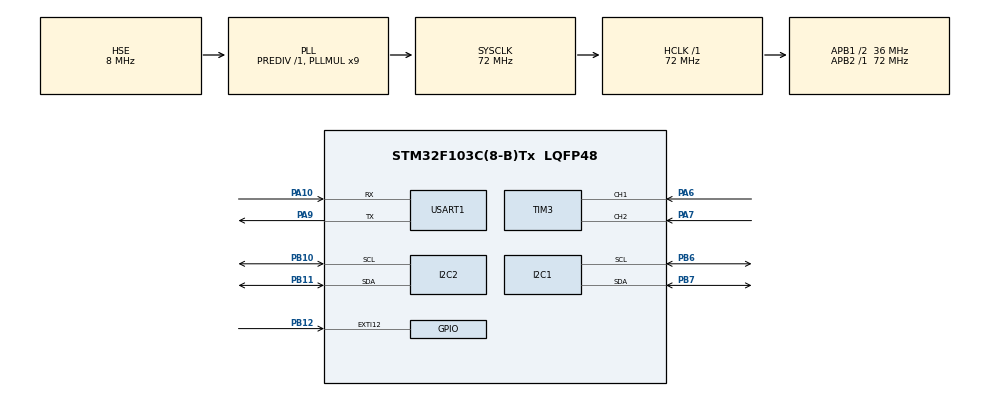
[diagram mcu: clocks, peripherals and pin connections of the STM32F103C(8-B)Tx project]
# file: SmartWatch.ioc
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FREERTOS.Mutexes01=mutexI2C,Dynamic,NULL,Available
FREERTOS.Queues01=queueTimeUpdate,16,8,1,Dynamic,NULL,NULL;queueMenuMsg,16,4,1,Dynamic,NULL,NULL;queueBtCmd,16,32,1,Dynamic,NULL,NULL;queueSensorData,4,64,1,Dynamic,NULL,NULL
FREERTOS.Tasks01=defaultTask,0,128,StartDefaultTask,Default,NULL,Dynamic,NULL,NULL;taskTimeKeep,2,256,osPriorityHigh,Default,NULL,Dynamic,NULL,NULL;taskSensor,1,512,vTask_Sensor,Default,NULL,Dynamic,NULL,NULL;taskDisplay,0,1024,vTask_Display,Default,NULL,Dynamic,NULL,NULL;taskMenu,0,512,vTask_Menu,Default,NULL,Dynamic,NULL,NULL;taskBluetooth,-1,512,vTask_Bluetooth,Default,NULL,Dynamic,NULL,NULL
FREERTOS.configMAX_PRIORITIES=32
FREERTOS.configTOTAL_HEAP_SIZE=16384
I2C1.I2C_Mode=I2C_Standard
I2C2.I2C_Mode=I2C_Standard
Mcu.Family=STM32F1
Mcu.Name=STM32F103C(8-B)Tx
Mcu.Package=LQFP48
NVIC.EXTI15_10_IRQn=true\:7\:0\:true\:false\:true\:false\:true\:true\:true
NVIC.PriorityGroup=NVIC_PRIORITYGROUP_4
NVIC.TIM1_UP_IRQn=true\:15\:0\:false\:false\:true\:false\:false\:true\:true
NVIC.TIM2_IRQn=true\:5\:0\:false\:false\:true\:true\:true\:true\:true
NVIC.TimeBase=TIM1_UP_IRQn
NVIC.TimeBaseIP=TIM1
NVIC.USART1_IRQn=true\:7\:0\:true\:false\:true\:true\:true\:true\:true
PA10.Mode=Asynchronous
PA10.Signal=USART1_RX
PA13.Mode=Serial_Wire
PA13.Signal=SYS_JTMS-SWDIO
PA14.Mode=Serial_Wire
PA14.Signal=SYS_JTCK-SWCLK
PA6.Signal=S_TIM3_CH1
PA7.Signal=S_TIM3_CH2
PA9.Mode=Asynchronous
PA9.Signal=USART1_TX
PB10.Mode=I2C
PB10.Signal=I2C2_SCL
PB11.Mode=I2C
PB11.Signal=I2C2_SDA
PB12.GPIO_ModeDefaultEXTI=GPIO_MODE_IT_FALLING
PB12.GPIO_PuPd=GPIO_PULLUP
PB12.Signal=GPXTI12
PB6.Mode=I2C
PB6.Signal=I2C1_SCL
PB7.Mode=I2C
PB7.Signal=I2C1_SDA
PD0-OSC_IN.Mode=HSE-External-Oscillator
PD0-OSC_IN.Signal=RCC_OSC_IN
PD1-OSC_OUT.Mode=HSE-External-Oscillator
PD1-OSC_OUT.Signal=RCC_OSC_OUT
ProjectManager.HeapSize=0x200
ProjectManager.StackSize=0x400
ProjectManager.TargetToolchain=STM32CubeIDE
RCC.AHBFreq_Value=72000000
RCC.APB1CLKDivider=RCC_HCLK_DIV2
RCC.APB1Freq_Value=36000000
RCC.APB1TimFreq_Value=72000000
RCC.APB2Freq_Value=72000000
RCC.APB2TimFreq_Value=72000000
RCC.HCLKFreq_Value=72000000
RCC.PLLMUL=RCC_PLL_MUL9
RCC.PLLSourceVirtual=RCC_PLLSOURCE_HSE
RCC.SYSCLKFreq_VALUE=72000000
RCC.SYSCLKSource=RCC_SYSCLKSOURCE_PLLCLK
RCC.USBFreq_Value=72000000
SH.S_TIM3_CH1.0=TIM3_CH1,Encoder_Interface
SH.S_TIM3_CH2.0=TIM3_CH2,Encoder_Interface
TIM2.Period=9999
TIM2.Prescaler=7199
USART1.VirtualMode=VM_ASYNC
VP_FREERTOS_VS_CMSIS_V1.Mode=CMSIS_V1
VP_SYS_VS_tim1.Mode=TIM1
VP_TIM2_VS_ClockSourceINT.Mode=Internal
board=custom

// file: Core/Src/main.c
/* USER CODE BEGIN Header */
/**
  ******************************************************************************
  * @file           : main.c
  * @brief          : Phase 5 - FreeRTOS + Multi-level Menu + Power Management
  ******************************************************************************
  */
/* USER CODE END Header */
#include "main.h"
#include "cmsis_os.h"
#include "i2c.h"
#include "tim.h"
#include "usart.h"
#include "gpio.h"

/* USER CODE BEGIN Includes */
#include "ssd1306.h"
#include "mpu6050.h"
#include "bluetooth.h"
#include <stdio.h>
#include <stdlib.h>
#include <string.h>
#include <math.h>
/* USER CODE END Includes */

/* USER CODE BEGIN PTD */
/* 所有结构体定义已移至 main.h，此处留空 */
/* USER CODE END PTD */

/* USER CODE BEGIN PD */
#define MENU_TIMEOUT_MS     10000   // 10秒无操作熄屏
/* USER CODE END PD */

/* USER CODE BEGIN PV */

// 外部 FreeRTOS 句柄
extern osMessageQId queueSensorDataHandle;
extern osMessageQId queueSensorDataBtHandle;
extern osMessageQId queueTimeUpdateHandle;
extern osMessageQId queueMenuMsgHandle;
extern osMutexId mutexI2CHandle;
extern osSemaphoreId semDisplayUpdateHandle;

// ============================================================
// 叶子节点动作函数声明
// ============================================================
static void MenuAction_ShowTime(void);
static void MenuAction_ShowSensor(void);
static void MenuAction_ShowSport(void);
static void MenuAction_ShowSystem(void);
static void MenuAction_SetTime(void);
static void MenuAction_ResetSteps(void);
static void MenuAction_About(void);

// 前向声明子菜单
static const MenuItem_t menuTime[];
static const MenuItem_t menuSensor[];
static const MenuItem_t menuSport[];
static const MenuItem_t menuSettings[];
static const MenuItem_t menuSystem[];

// ============================================================
// 定义菜单树（每个数组必须有 NULL 终止符）
// ============================================================

static const MenuItem_t menuMain[] = {
    {"Time",       3, menuTime,   NULL},
    {"Sensor",     3, menuSensor, NULL},
    {"Sport",      3, menuSport,  NULL},
    {"Settings",   4, menuSettings, NULL},
    {"System",     3, menuSystem, NULL},
    {NULL,         0, NULL,       NULL}
};

static const MenuItem_t menuTime[] = {
    {"Current Time", 0, NULL, MenuAction_ShowTime},
    {"Date",         0, NULL, NULL},
    {"Step Count",   0, NULL, NULL},
    {NULL,           0, NULL, NULL}
};

static const MenuItem_t menuSensor[] = {
    {"Attitude",    0, NULL, MenuAction_ShowSensor},
    {"Accel",       0, NULL, NULL},
    {"Temperature", 0, NULL, NULL},
    {NULL,          0, NULL, NULL}
};

static const MenuItem_t menuSport[] = {
    {"Today Steps", 0, NULL, MenuAction_ShowSport},
    {"Distance",    0, NULL, NULL},
    {"Calorie",     0, NULL, NULL},
    {NULL,          0, NULL, NULL}
};

static const MenuItem_t menuSettings[] = {
    {"Set Time",    0, NULL, MenuAction_SetTime},
    {"BT Pair",     0, NULL, NULL},
    {"Reset Steps", 0, NULL, MenuAction_ResetSteps},
    {"About",       0, NULL, MenuAction_About},
    {NULL,          0, NULL, NULL}
};

static const MenuItem_t menuSystem[] = {
    {"Battery",     0, NULL, MenuAction_ShowSystem},
    {"Firmware",    0, NULL, NULL},
    {"BT MAC",      0, NULL, NULL},
    {NULL,          0, NULL, NULL}
};

// ============================================================
// 定义全局状态
// ============================================================
Page_t currentPage = PAGE_TIME;

MenuState_t menuState = {
    .current_menu = NULL,
    .current_item = 0,
    .depth = 0,
    .prev_item = 0,
    .edit_mode = 0,
    .edit_value = 0
};

static uint8_t screen_off = 0;
static uint32_t last_activity_time = 0;
static uint8_t force_refresh_now = 0;

/* USER CODE END PV */

void SystemClock_Config(void);
void MX_FREERTOS_Init(void);
/* USER CODE BEGIN PFP */

void RenderPage(TimeData_t *time, SensorData_t *sensor);
void ProcessMenu(MenuMsg_t *msg);
void RenderMenu(void);
void ProcessMenuEvent(MenuEvent_t event);

void vTask_TimeKeep(void const *argument);
void vTask_Sensor(void const *argument);
void vTask_Display(void const *argument);
void vTask_Menu(void const *argument);
void vTask_Bluetooth(void const *argument);

static char* FloatToStrInt(float val) {
    static char buf[16];
    int int_part = (int)val;
    int dec_part = (int)((val - int_part) * 10);
    if (dec_part < 0) dec_part = -dec_part;
    if (val < 0 && int_part == 0) {
        sprintf(buf, "-0.%d", dec_part);
    } else {
        sprintf(buf, "%d.%d", int_part, dec_part);
    }
    return buf;
}

/* USER CODE END PFP */

/* USER CODE BEGIN 0 */

// ============================================================
// 叶子节点动作函数
// ============================================================
static void MenuAction_ShowTime(void) {
    currentPage = PAGE_TIME;
    menuState.current_menu = NULL;
    force_refresh_now = 1;
}

static void MenuAction_ShowSensor(void) {
    currentPage = PAGE_SENSOR;
    menuState.current_menu = NULL;
    force_refresh_now = 1;
}

static void MenuAction_ShowSport(void) {
    currentPage = PAGE_SPORT;
    menuState.current_menu = NULL;
    force_refresh_now = 1;
}

static void MenuAction_ShowSystem(void) {
    currentPage = PAGE_SYSTEM;
    menuState.current_menu = NULL;
    force_refresh_now = 1;
}

static void MenuAction_SetTime(void) {
    menuState.edit_mode = 1;
    menuState.current_menu = NULL;
    force_refresh_now = 1;
}

static void MenuAction_ResetSteps(void) {
    SensorData_t reset_sensor = {0};
    reset_sensor.steps = 0;
    xQueueSend(queueSensorDataHandle, &reset_sensor, 0);
    menuState.current_menu = NULL;
    currentPage = PAGE_TIME;
    force_refresh_now = 1;
}

static void MenuAction_About(void) {
    menuState.current_menu = NULL;
    currentPage = PAGE_TIME;
    force_refresh_now = 1;
}

// ============================================================
// 多级菜单渲染
// ============================================================
void RenderMenu(void) {
    uint8_t i, count;
    const MenuItem_t *menu = menuState.current_menu;

    if (menu == NULL) {
        return;
    }

    count = 0;
    while (menu[count].name != NULL && count < 10) {
        count++;
    }

    if (count == 0) {
        return;
    }

    SSD1306_Clear();

    // 标题
    SSD1306_SetCursor(0, 0);
    if (menuState.depth == 0) {
        SSD1306_WriteString("Main Menu");
    } else {
        for (i = 0; i < menuState.depth; i++) {
            SSD1306_WriteString("  ");
        }
        SSD1306_WriteString("Menu");
    }
    SSD1306_SetCursor(0, 8);
    SSD1306_WriteString("----------------");

    // 菜单项
    for (i = 0; i < count; i++) {
        SSD1306_SetCursor(2, 16 + i * 8);
        if (i == menuState.current_item) {
            SSD1306_WriteString(">");
        } else {
            SSD1306_WriteString(" ");
        }
        SSD1306_WriteString((char*)menu[i].name);
        if (menu[i].sub_items > 0) {
            SSD1306_WriteString(" →");
        }
    }

    // 底部提示
    SSD1306_SetCursor(0, 56);
    SSD1306_WriteString("OK:Enter L:Back");
}

// ============================================================
// 菜单事件处理
// ============================================================
void ProcessMenuEvent(MenuEvent_t event) {
    const MenuItem_t *menu = menuState.current_menu;
    uint8_t count = 0;

    if (menu == NULL) {
        return;
    }

    while (menu[count].name != NULL && count < 10) count++;

    switch (event) {
        case MENU_EVENT_NEXT:
            menuState.current_item = (menuState.current_item + 1) % count;
            force_refresh_now = 1;
            break;
        case MENU_EVENT_PREV:
            menuState.current_item = (menuState.current_item + count - 1) % count;
            force_refresh_now = 1;
            break;
        case MENU_EVENT_ENTER: {
            const MenuItem_t *item = &menu[menuState.current_item];
            if (item->sub_items > 0 && item->sub_menu != NULL) {
                menuState.current_menu = item->sub_menu;
                menuState.prev_item = menuState.current_item;
                menuState.depth++;
                menuState.current_item = 0;
                force_refresh_now = 1;
            } else if (item->action != NULL) {
                item->action();
                force_refresh_now = 1;
            }
            break;
        }
        case MENU_EVENT_BACK:
            if (menuState.depth > 0) {
                if (menuState.depth == 1) {
                    menuState.current_menu = menuMain;
                } else {
                    menuState.current_menu = menuMain;
                }
                menuState.depth--;
                menuState.current_item = menuState.prev_item;
                force_refresh_now = 1;
            } else {
                menuState.current_menu = NULL;
                menuState.depth = 0;
                menuState.current_item = 0;
                currentPage = PAGE_TIME;
                force_refresh_now = 1;
            }
            break;
        default:
            break;
    }
}

// ============================================================
// 菜单消息处理
// ============================================================
void ProcessMenu(MenuMsg_t *msg) {
    MenuEvent_t event = MENU_EVENT_NONE;

    last_activity_time = HAL_GetTick();

    if (msg->encoder_delta > 0) {
        event = MENU_EVENT_NEXT;
    } else if (msg->encoder_delta < 0) {
        event = MENU_EVENT_PREV;
    } else if (msg->button_event == 1) {
        event = MENU_EVENT_ENTER;
    } else if (msg->button_event == 2) {
        event = MENU_EVENT_BACK;
    }

    if (event != MENU_EVENT_NONE) {
        if (menuState.current_menu != NULL) {
            ProcessMenuEvent(event);
        } else {
            if (event == MENU_EVENT_ENTER) {
                menuState.current_menu = menuMain;
                menuState.current_item = currentPage;
                menuState.depth = 0;
                menuState.edit_mode = 0;
                force_refresh_now = 1;
            } else if (event == MENU_EVENT_NEXT) {
                currentPage = (currentPage + 1) % PAGE_COUNT;
                force_refresh_now = 1;
            } else if (event == MENU_EVENT_PREV) {
                currentPage = (currentPage + PAGE_COUNT - 1) % PAGE_COUNT;
                force_refresh_now = 1;
            }
        }
    }
}

// ============================================================
// 页面渲染
// ============================================================
void RenderPage(TimeData_t *time, SensorData_t *sensor) {
    char buf[24];

    if (menuState.current_menu != NULL) {
        RenderMenu();
        return;
    }

    SSD1306_Clear();

    switch (currentPage) {
        case PAGE_TIME:
            SSD1306_SetCursor(0, 0); SSD1306_WriteString("SmartWatch");
            SSD1306_SetCursor(0, 2);
            sprintf(buf, "Time:%02d:%02d:%02d", time->hour, time->min, time->sec);
            SSD1306_WriteString(buf);
            SSD1306_SetCursor(0, 4);
            sprintf(buf, "Steps:%lu", sensor->steps);
            SSD1306_WriteString(buf);
            SSD1306_SetCursor(0, 6);
            sprintf(buf, "BT:%s", Bluetooth_IsConnected() ? "OK" : "NO");
            SSD1306_WriteString(buf);
            break;

        case PAGE_SENSOR:
            SSD1306_SetCursor(0, 0); SSD1306_WriteString("--- Sensor ---");
            SSD1306_SetCursor(0, 2);
            sprintf(buf, "AX:%s", FloatToStrInt(sensor->accel_x));
            SSD1306_WriteString(buf);
            SSD1306_SetCursor(0, 3);
            sprintf(buf, "AY:%s", FloatToStrInt(sensor->accel_y));
            SSD1306_WriteString(buf);
            SSD1306_SetCursor(0, 4);
            sprintf(buf, "AZ:%s", FloatToStrInt(sensor->accel_z));
            SSD1306_WriteString(buf);
            SSD1306_SetCursor(0, 6);
            sprintf(buf, "Steps:%lu", sensor->steps);
            SSD1306_WriteString(buf);
            break;

        case PAGE_SPORT:
            SSD1306_SetCursor(0, 0); SSD1306_WriteString("--- Sport ---");
            SSD1306_SetCursor(0, 2);
            sprintf(buf, "Steps:%lu", sensor->steps);
            SSD1306_WriteString(buf);
            SSD1306_SetCursor(0, 4);
            uint32_t dist_m = sensor->steps * 8 / 10;
            sprintf(buf, "Dist:%lu.%1lum", dist_m / 10, dist_m % 10);
            SSD1306_WriteString(buf);
            break;

        case PAGE_SYSTEM:
            SSD1306_SetCursor(0, 0); SSD1306_WriteString("--- System ---");
            SSD1306_SetCursor(0, 2);
            sprintf(buf, "Temp:%sC", FloatToStrInt(sensor->temp));
            SSD1306_WriteString(buf);
            SSD1306_SetCursor(0, 4); SSD1306_WriteString("I2C:OK");
            SSD1306_SetCursor(0, 6); SSD1306_WriteString("UART:OK");
            break;

        default:
            break;
    }
}

/* USER CODE END 0 */

// ============================================================
// 主函数
// ============================================================
int main(void)
{
  HAL_Init();
  SystemClock_Config();

  MX_GPIO_Init();
  MX_I2C1_Init();
  MX_USART1_UART_Init();
  MX_TIM2_Init();
  MX_TIM3_Init();
  MX_I2C2_Init();

  /* USER CODE BEGIN 2 */
  char start_msg[] = "\r\n=== SmartWatch Phase 5 ===\r\n";
  HAL_UART_Transmit(&huart1, (uint8_t*)start_msg, strlen(start_msg), 100);

  SSD1306_Init();
  SSD1306_Clear();
  SSD1306_SetCursor(0, 0);
  SSD1306_WriteString("Phase5 Starting");

  if (MPU6050_Init() == 1) {
      SSD1306_SetCursor(0, 2);
      SSD1306_WriteString("MPU6050 OK");
      HAL_UART_Transmit(&huart1, (uint8_t*)"MPU6050 Init OK\r\n", 18, 100);
  } else {
      SSD1306_SetCursor(0, 2);
      SSD1306_WriteString("MPU6050 FAIL");
      HAL_UART_Transmit(&huart1, (uint8_t*)"MPU6050 Init FAIL\r\n", 20, 100);
      while(1);
  }

  Bluetooth_Init();
  SSD1306_SetCursor(0, 4);
  SSD1306_WriteString("Bluetooth OK");
  HAL_UART_Transmit(&huart1, (uint8_t*)"Bluetooth Init OK\r\n", 20, 100);

  HAL_Delay(1000);
  SSD1306_Clear();

  HAL_TIM_Base_Start_IT(&htim2);
  HAL_TIM_Encoder_Start(&htim3, TIM_CHANNEL_ALL);

  last_activity_time = HAL_GetTick();

  /* USER CODE END 2 */

  MX_FREERTOS_Init();
  osKernelStart();

  while (1) {}
}

// ============================================================
// System Clock Configuration
// ============================================================
void SystemClock_Config(void)
{
  RCC_OscInitTypeDef RCC_OscInitStruct = {0};
  RCC_ClkInitTypeDef RCC_ClkInitStruct = {0};

  RCC_OscInitStruct.OscillatorType = RCC_OSCILLATORTYPE_HSE;
  RCC_OscInitStruct.HSEState = RCC_HSE_ON;
  RCC_OscInitStruct.HSEPredivValue = RCC_HSE_PREDIV_DIV1;
  RCC_OscInitStruct.HSIState = RCC_HSI_ON;
  RCC_OscInitStruct.PLL.PLLState = RCC_PLL_ON;
  RCC_OscInitStruct.PLL.PLLSource = RCC_PLLSOURCE_HSE;
  RCC_OscInitStruct.PLL.PLLMUL = RCC_PLL_MUL9;
  if (HAL_RCC_OscConfig(&RCC_OscInitStruct) != HAL_OK) Error_Handler();

  RCC_ClkInitStruct.ClockType = RCC_CLOCKTYPE_HCLK|RCC_CLOCKTYPE_SYSCLK
                              |RCC_CLOCKTYPE_PCLK1|RCC_CLOCKTYPE_PCLK2;
  RCC_ClkInitStruct.SYSCLKSource = RCC_SYSCLKSOURCE_PLLCLK;
  RCC_ClkInitStruct.AHBCLKDivider = RCC_SYSCLK_DIV1;
  RCC_ClkInitStruct.APB1CLKDivider = RCC_HCLK_DIV2;
  RCC_ClkInitStruct.APB2CLKDivider = RCC_HCLK_DIV1;
  if (HAL_RCC_ClockConfig(&RCC_ClkInitStruct, FLASH_LATENCY_2) != HAL_OK) Error_Handler();
}

/* USER CODE BEGIN 4 */

void vTask_TimeKeep(void const *argument) {
    TimeData_t time = {0, 0, 0};
    TickType_t xLastWakeTime = xTaskGetTickCount();

    for (;;) {
        time.sec++;
        if (time.sec >= 60) { time.sec = 0; time.min++; }
        if (time.min >= 60) { time.min = 0; time.hour++; }
        if (time.hour >= 24) time.hour = 0;

        if (xQueueSend(queueTimeUpdateHandle, &time, 0) != pdPASS) {
            HAL_UART_Transmit(&huart1, (uint8_t*)"TIME SEND FAIL\r\n", 17, 100);
        }

        xSemaphoreGive(semDisplayUpdateHandle);
        vTaskDelayUntil(&xLastWakeTime, pdMS_TO_TICKS(1000));
    }
}

void vTask_Sensor(void const *argument) {
    SensorData_t sensor = {0};
    TickType_t xLastWakeTime = xTaskGetTickCount();
    MPU6050_Data raw;
    char dbg[64];
    uint8_t read_ok = 0;

    for (;;) {
        read_ok = 0;
        osStatus mutex_status = osMutexWait(mutexI2CHandle, osWaitForever);
        if (mutex_status == osOK) {
            MPU6050_ReadAll(&raw);
            sensor.steps = MPU6050_GetSteps();
            osMutexRelease(mutexI2CHandle);
            read_ok = 1;
        }

        if (read_ok) {
            sensor.accel_x = raw.accel_x;
            sensor.accel_y = raw.accel_y;
            sensor.accel_z = raw.accel_z;
            sensor.pitch = raw.pitch;
            sensor.roll = raw.roll;
            sensor.temp = raw.temp;

            static uint8_t print_cnt = 0;
            print_cnt++;
            if (print_cnt % 5 == 0) {
                int ax_int = (int)(sensor.accel_x * 10);
                int ay_int = (int)(sensor.accel_y * 10);
                int az_int = (int)(sensor.accel_z * 10);
                sprintf(dbg, "SENS: AX=%d.%d AY=%d.%d AZ=%d.%d STEPS=%lu\r\n",
                        ax_int/10, abs(ax_int%10),
                        ay_int/10, abs(ay_int%10),
                        az_int/10, abs(az_int%10),
                        sensor.steps);
                HAL_UART_Transmit(&huart1, (uint8_t*)dbg, strlen(dbg), 100);
            }
        } else {
            HAL_UART_Transmit(&huart1, (uint8_t*)"MUTEX FAIL\r\n", 12, 100);
        }

        xQueueSend(queueSensorDataHandle, &sensor, 0);
        xQueueSend(queueSensorDataBtHandle, &sensor, 0);
        xSemaphoreGive(semDisplayUpdateHandle);
        vTaskDelayUntil(&xLastWakeTime, pdMS_TO_TICKS(50));
    }
}

// ============================================================
// vTask_Display：刷新率 100ms
// ============================================================
void vTask_Display(void const *argument) {
    TimeData_t time = {0, 0, 0};
    SensorData_t sensor = {0};
    TickType_t xLastWakeTime = xTaskGetTickCount();
    const TickType_t xMinRefreshPeriod = pdMS_TO_TICKS(100);   // ★ 100ms 刷新

    for (;;) {
        uint8_t should_refresh = 0;

        // 信号量等待超时 100ms
        if (xSemaphoreTake(semDisplayUpdateHandle, pdMS_TO_TICKS(100)) == pdTRUE) {
            xQueueReceive(queueTimeUpdateHandle, &time, 0);
            xQueueReceive(queueSensorDataHandle, &sensor, 0);
            should_refresh = 1;
        }

        if (force_refresh_now) {
            force_refresh_now = 0;
            should_refresh = 1;
        }

        TickType_t now = xTaskGetTickCount();
        if (screen_off == 0 && (should_refresh || (now - xLastWakeTime) >= xMinRefreshPeriod)) {
            // 定时刷新时主动读取最新数据（非阻塞）
            if (!should_refresh) {
                xQueueReceive(queueTimeUpdateHandle, &time, 0);
                xQueueReceive(queueSensorDataHandle, &sensor, 0);
            }
            if (osMutexWait(mutexI2CHandle, osWaitForever) == osOK) {
                RenderPage(&time, &sensor);
                osMutexRelease(mutexI2CHandle);
            }
            xLastWakeTime = now;
        }

        vTaskDelay(pdMS_TO_TICKS(10));
    }
}

void vTask_Menu(void const *argument) {
    MenuMsg_t msg = {0, 0};
    TickType_t xLastWakeTime = xTaskGetTickCount();
    uint8_t last_btn_state = 1;
    uint32_t btn_press_start = 0;

    for (;;) {
        int16_t current_count = (int16_t)TIM3->CNT;
        if (current_count != 0) {
            TIM3->CNT = 0;
            msg.encoder_delta = current_count;
        } else {
            msg.encoder_delta = 0;
        }

        uint8_t btn_state = HAL_GPIO_ReadPin(GPIOB, GPIO_PIN_10);
        if (btn_state == 0 && last_btn_state == 1) {
            btn_press_start = HAL_GetTick();
        } else if (btn_state == 1 && last_btn_state == 0) {
            uint32_t press_duration = HAL_GetTick() - btn_press_start;
            if (press_duration > 1000) msg.button_event = 2;
            else if (press_duration > 30) msg.button_event = 1;
            else msg.button_event = 0;
        } else {
            msg.button_event = 0;
        }
        last_btn_state = btn_state;

        if (msg.encoder_delta != 0 || msg.button_event != 0) {
            ProcessMenu(&msg);
        }

        uint32_t now = HAL_GetTick();
        if (!screen_off && (now - last_activity_time) > MENU_TIMEOUT_MS) {
            screen_off = 1;
            if (osMutexWait(mutexI2CHandle, osWaitForever) == osOK) {
                SSD1306_WriteCmd(0xAE);
                osMutexRelease(mutexI2CHandle);
            }
        }

        if (screen_off && (msg.encoder_delta != 0 || msg.button_event != 0)) {
            screen_off = 0;
            if (osMutexWait(mutexI2CHandle, osWaitForever) == osOK) {
                SSD1306_WriteCmd(0xAF);
                osMutexRelease(mutexI2CHandle);
            }
            force_refresh_now = 1;
        }

        vTaskDelayUntil(&xLastWakeTime, pdMS_TO_TICKS(20));
    }
}

void vTask_Bluetooth(void const *argument) {
    TickType_t xLastWakeTime = xTaskGetTickCount();
    TimeData_t time = {0, 0, 0};
    SensorData_t sensor = {0};

    for (;;) {
        Bluetooth_ProcessReceived();

        // ★ 从传感器队列读取步数（消费）
        xQueueReceive(queueSensorDataBtHandle, &sensor, 0);

        // ★ 查看时间数据（不消费，使用 xQueuePeek）
        if (uxQueueMessagesWaiting(queueTimeUpdateHandle) > 0) {
            xQueuePeek(queueTimeUpdateHandle, &time, 0);
        }

        // ★ 发送完整数据包
        Bluetooth_SendFullData(&time, &sensor);

        vTaskDelayUntil(&xLastWakeTime, pdMS_TO_TICKS(500));
    }
}
/* USER CODE END 4 */

void HAL_TIM_PeriodElapsedCallback(TIM_HandleTypeDef *htim)
{
  if (htim->Instance == TIM1) {
    HAL_IncTick();
  }
}

void Error_Handler(void)
{
  __disable_irq();
  while (1) {}
}

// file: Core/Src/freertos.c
/* USER CODE BEGIN Header */
/**
  ******************************************************************************
  * File Name          : freertos.c
  * Description        : Code for freertos applications
  ******************************************************************************
  */
/* USER CODE END Header */

#include "FreeRTOS.h"
#include "task.h"
#include "queue.h"          // ★ 原生队列 API
#include "main.h"
#include "cmsis_os.h"

/* USER CODE BEGIN Includes */
#include <stdio.h>    // 添加：sprintf
#include <string.h>   // 添加：strlen
/* USER CODE END Includes */

// ============================================================
// 外部声明：USART1 句柄（定义在 main.c 或 usart.c）
// ============================================================
extern UART_HandleTypeDef huart1;

// ============================================================
// FreeRTOS 句柄
// ============================================================
osThreadId taskTimeKeepHandle;
osThreadId taskSensorHandle;
osThreadId taskDisplayHandle;
osThreadId taskMenuHandle;
osThreadId taskBluetoothHandle;
osMessageQId queueSensorDataHandle;
osMessageQId queueSensorDataBtHandle;
osMessageQId queueTimeUpdateHandle;
osMessageQId queueMenuMsgHandle;
osMessageQId queueBtCmdHandle;
osMutexId mutexI2CHandle;
osSemaphoreId semDisplayUpdateHandle;

/* USER CODE BEGIN FunctionPrototypes */

// ============================================================
// 任务函数声明（实现在 main.c 中）
// ============================================================
extern void vTask_TimeKeep(void const * argument);
extern void vTask_Sensor(void const * argument);
extern void vTask_Display(void const * argument);
extern void vTask_Menu(void const * argument);
extern void vTask_Bluetooth(void const * argument);

/* USER CODE END FunctionPrototypes */

void MX_FREERTOS_Init(void);

/* GetIdleTaskMemory prototype */
void vApplicationGetIdleTaskMemory( StaticTask_t **ppxIdleTaskTCBBuffer, StackType_t **ppxIdleTaskStackBuffer, uint32_t *pulIdleTaskStackSize );

/* USER CODE BEGIN GET_IDLE_TASK_MEMORY */
static StaticTask_t xIdleTaskTCBBuffer;
static StackType_t xIdleStack[configMINIMAL_STACK_SIZE];

void vApplicationGetIdleTaskMemory( StaticTask_t **ppxIdleTaskTCBBuffer, StackType_t **ppxIdleTaskStackBuffer, uint32_t *pulIdleTaskStackSize )
{
  *ppxIdleTaskTCBBuffer = &xIdleTaskTCBBuffer;
  *ppxIdleTaskStackBuffer = &xIdleStack[0];
  *pulIdleTaskStackSize = configMINIMAL_STACK_SIZE;
}
/* USER CODE END GET_IDLE_TASK_MEMORY */

void MX_FREERTOS_Init(void) {

  /* Create the mutex(es) */
  osMutexDef(mutexI2C);
  mutexI2CHandle = osMutexCreate(osMutex(mutexI2C));

  /* Create the semaphores(s) */
  osSemaphoreDef(semDisplayUpdate);
  semDisplayUpdateHandle = osSemaphoreCreate(osSemaphore(semDisplayUpdate), 1);

  /* ============================================================
     ★★★ 使用原生 FreeRTOS API 手动创建队列 ★★★
     ============================================================ */
  /* USER CODE BEGIN RTOS_QUEUES */

  // 传感器队列：4 个消息，每个消息大小 = SensorData_t
  queueSensorDataHandle = (osMessageQId)xQueueCreate(4, sizeof(SensorData_t));

  // 蓝牙专用传感器队列
  queueSensorDataBtHandle = (osMessageQId)xQueueCreate(4, sizeof(SensorData_t));

  // 时间更新队列
  queueTimeUpdateHandle = (osMessageQId)xQueueCreate(2, sizeof(TimeData_t));

  // 菜单消息队列
  queueMenuMsgHandle = (osMessageQId)xQueueCreate(4, sizeof(MenuMsg_t));

  // 蓝牙命令队列
  queueBtCmdHandle = (osMessageQId)xQueueCreate(4, 32);

  // 打印队列地址（调试用）
  char dbg[64];
  sprintf(dbg, "Q addr: %p\r\n", (void*)queueSensorDataHandle);
  HAL_UART_Transmit(&huart1, (uint8_t*)dbg, strlen(dbg), 100);

  /* USER CODE END RTOS_QUEUES */

  /* Create the thread(s) */
  osThreadDef(taskTimeKeep, vTask_TimeKeep, osPriorityHigh, 0, 256);
  taskTimeKeepHandle = osThreadCreate(osThread(taskTimeKeep), NULL);

  osThreadDef(taskSensor, vTask_Sensor, osPriorityAboveNormal, 0, 512);
  taskSensorHandle = osThreadCreate(osThread(taskSensor), NULL);

  osThreadDef(taskDisplay, vTask_Display, osPriorityNormal, 0, 1024);
  taskDisplayHandle = osThreadCreate(osThread(taskDisplay), NULL);

  osThreadDef(taskMenu, vTask_Menu, osPriorityNormal, 0, 512);
  taskMenuHandle = osThreadCreate(osThread(taskMenu), NULL);

  osThreadDef(taskBluetooth, vTask_Bluetooth, osPriorityBelowNormal, 0, 512);
  taskBluetoothHandle = osThreadCreate(osThread(taskBluetooth), NULL);

}
